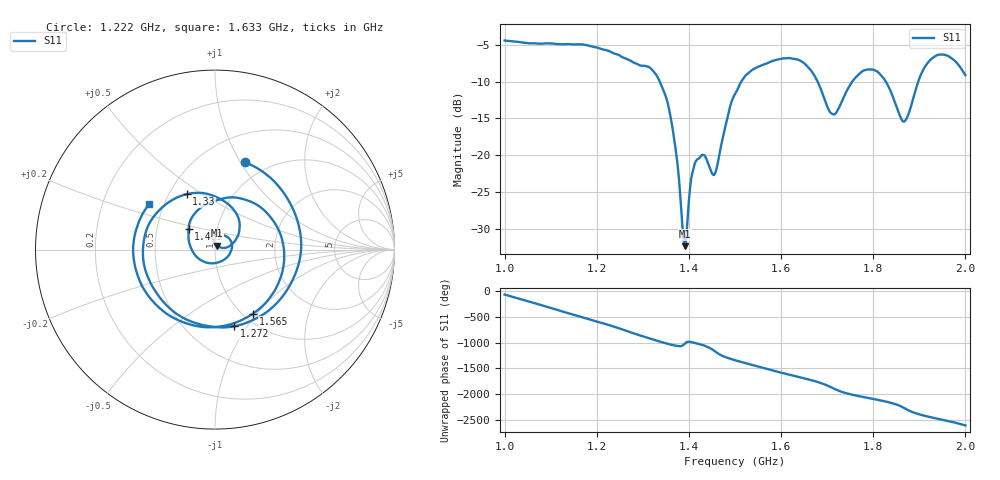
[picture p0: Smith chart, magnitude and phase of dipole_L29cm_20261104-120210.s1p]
! Dipole length 29 cm, measured 20261104-120210
# GHZ S RI R 50.000000000000
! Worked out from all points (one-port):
!   1001 points, 1 GHz to 2 GHz, reference 50 ohm
!   lowest |S11| = -32.3 dB at 1.392 GHz (marker M1), VSWR 1.05, Z = 51 + j2.23 ohm
!   |S11| at or under -10 dB: 1.337 GHz to 1.514 GHz (177 MHz wide, 12.4 % of centre); 1.679 GHz to 1.754 GHz (75.2 MHz wide, 4.38 % of centre); 1.827 GHz to 1.898 GHz (70.52 MHz wide, 3.79 % of centre)
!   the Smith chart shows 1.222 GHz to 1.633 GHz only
!   S11 on the Smith chart (normalised r, x): 1.222 GHz: 0.79, +1.04; 1.272 GHz: 0.82, -0.87; 1.33 GHz: 0.61, +0.43; 1.485 GHz: 0.73, +0.17; 1.565 GHz: 1.10, -0.95; 1.633 GHz: 0.41, +0.26
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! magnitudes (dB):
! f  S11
! 1 GHz  -4.4
! 1.125 GHz  -5.0
! 1.222 GHz  -5.8
! 1.25 GHz  -6.5
! 1.272 GHz  -7.1
! 1.33 GHz  -9.2
! 1.355 GHz  -13.2
! 1.375 GHz  -21.1
! 1.387 GHz  -30.6
! 1.392 GHz  -32.3
! 1.404 GHz  -23.6
! 1.413 GHz  -21.1
! 1.432 GHz  -20.0
! 1.456 GHz  -22.6
! 1.485 GHz  -14.6
! 1.5 GHz  -11.7
! 1.565 GHz  -7.6
! 1.625 GHz  -6.9
! 1.633 GHz  -7.0
! 1.669 GHz  -8.9
! 1.711 GHz  -14.4
! 1.75 GHz  -10.4
! 1.805 GHz  -8.5
! 1.862 GHz  -15.2
! 1.875 GHz  -14.7
! 1.904 GHz  -9.0
! 1.931 GHz  -6.7
! 2 GHz  -9.1
